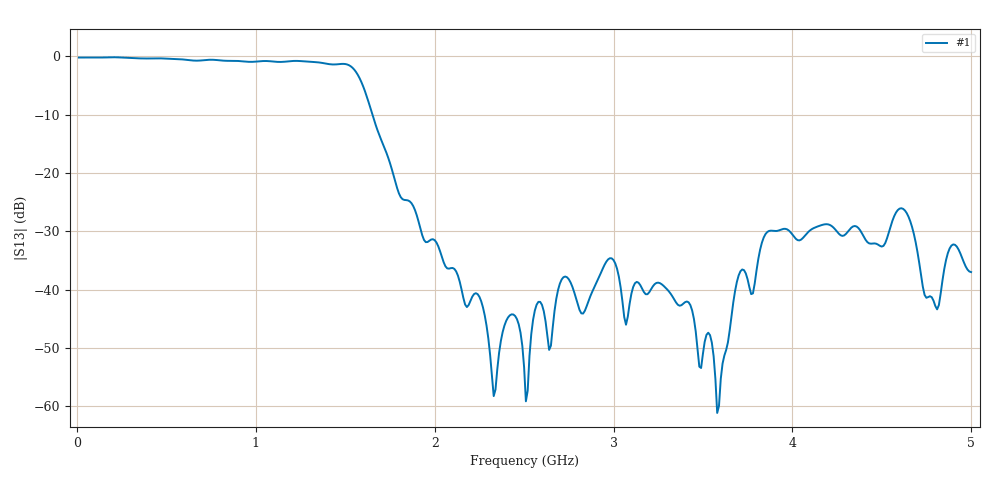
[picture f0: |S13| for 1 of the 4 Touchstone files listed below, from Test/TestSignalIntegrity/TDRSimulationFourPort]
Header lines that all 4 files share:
# MHz MA S R 50.0
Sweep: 10 MHz to 5 GHz
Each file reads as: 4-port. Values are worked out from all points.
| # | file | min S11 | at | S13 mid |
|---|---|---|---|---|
| 1 | FourPortDUT.s4p | -45.0 dB | 10 MHz | -59.1 dB at 2.51 GHz |
| 2 | TestSPARQFourPortTest_testVNAFourPort_Calc.s4p | -45.0 dB | 10 MHz | -59.1 dB at 2.51 GHz |
| 3 | TestTDRFourPortTest_testVNAFourPortTransferThru_Actual.s4p | -45.0 dB | 10 MHz | -59.1 dB at 2.51 GHz |
| 4 | TestTDRFourPortTest_testVNAFourPortTransferThru_Calc.s4p | -45.0 dB | 10 MHz | -59.1 dB at 2.51 GHz |
